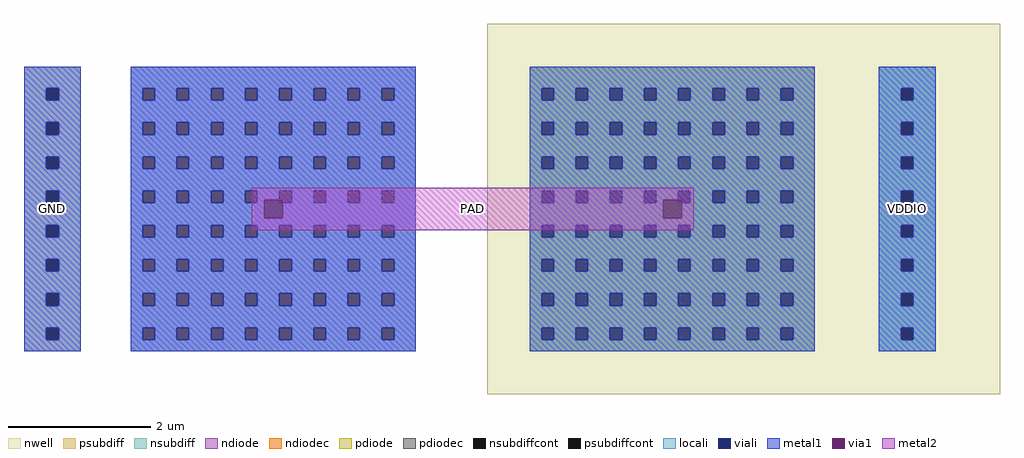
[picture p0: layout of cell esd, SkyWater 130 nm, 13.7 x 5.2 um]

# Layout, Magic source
magic
tech sky130A
magscale 1 2
<< nwell >>
rect 1000 -120 2440 920
<< psubdiff >>
rect -300 739 -140 800
rect -300 705 -237 739
rect -203 705 -140 739
rect -300 643 -140 705
rect -300 609 -237 643
rect -203 609 -140 643
rect -300 547 -140 609
rect -300 513 -237 547
rect -203 513 -140 547
rect -300 451 -140 513
rect -300 417 -237 451
rect -203 417 -140 451
rect -300 355 -140 417
rect -300 321 -237 355
rect -203 321 -140 355
rect -300 259 -140 321
rect -300 225 -237 259
rect -203 225 -140 259
rect -300 163 -140 225
rect -300 129 -237 163
rect -203 129 -140 163
rect -300 67 -140 129
rect -300 33 -237 67
rect -203 33 -140 67
rect -300 0 -140 33
<< nsubdiff >>
rect 2100 739 2260 800
rect 2100 705 2163 739
rect 2197 705 2260 739
rect 2100 643 2260 705
rect 2100 609 2163 643
rect 2197 609 2260 643
rect 2100 547 2260 609
rect 2100 513 2163 547
rect 2197 513 2260 547
rect 2100 451 2260 513
rect 2100 417 2163 451
rect 2197 417 2260 451
rect 2100 355 2260 417
rect 2100 321 2163 355
rect 2197 321 2260 355
rect 2100 259 2260 321
rect 2100 225 2163 259
rect 2197 225 2260 259
rect 2100 163 2260 225
rect 2100 129 2163 163
rect 2197 129 2260 163
rect 2100 67 2260 129
rect 2100 33 2163 67
rect 2197 33 2260 67
rect 2100 0 2260 33
<< psubdiffcont >>
rect -237 705 -203 739
rect -237 609 -203 643
rect -237 513 -203 547
rect -237 417 -203 451
rect -237 321 -203 355
rect -237 225 -203 259
rect -237 129 -203 163
rect -237 33 -203 67
<< nsubdiffcont >>
rect 2163 705 2197 739
rect 2163 609 2197 643
rect 2163 513 2197 547
rect 2163 417 2197 451
rect 2163 321 2197 355
rect 2163 225 2197 259
rect 2163 129 2197 163
rect 2163 33 2197 67
<< pdiode >>
rect 1120 739 1920 800
rect 1120 705 1153 739
rect 1187 705 1249 739
rect 1283 705 1345 739
rect 1379 705 1441 739
rect 1475 705 1537 739
rect 1571 705 1633 739
rect 1667 705 1729 739
rect 1763 705 1825 739
rect 1859 705 1920 739
rect 1120 643 1920 705
rect 1120 609 1153 643
rect 1187 609 1249 643
rect 1283 609 1345 643
rect 1379 609 1441 643
rect 1475 609 1537 643
rect 1571 609 1633 643
rect 1667 609 1729 643
rect 1763 609 1825 643
rect 1859 609 1920 643
rect 1120 547 1920 609
rect 1120 513 1153 547
rect 1187 513 1249 547
rect 1283 513 1345 547
rect 1379 513 1441 547
rect 1475 513 1537 547
rect 1571 513 1633 547
rect 1667 513 1729 547
rect 1763 513 1825 547
rect 1859 513 1920 547
rect 1120 451 1920 513
rect 1120 417 1153 451
rect 1187 417 1249 451
rect 1283 417 1345 451
rect 1379 417 1441 451
rect 1475 417 1537 451
rect 1571 417 1633 451
rect 1667 417 1729 451
rect 1763 417 1825 451
rect 1859 417 1920 451
rect 1120 355 1920 417
rect 1120 321 1153 355
rect 1187 321 1249 355
rect 1283 321 1345 355
rect 1379 321 1441 355
rect 1475 321 1537 355
rect 1571 321 1633 355
rect 1667 321 1729 355
rect 1763 321 1825 355
rect 1859 321 1920 355
rect 1120 259 1920 321
rect 1120 225 1153 259
rect 1187 225 1249 259
rect 1283 225 1345 259
rect 1379 225 1441 259
rect 1475 225 1537 259
rect 1571 225 1633 259
rect 1667 225 1729 259
rect 1763 225 1825 259
rect 1859 225 1920 259
rect 1120 163 1920 225
rect 1120 129 1153 163
rect 1187 129 1249 163
rect 1283 129 1345 163
rect 1379 129 1441 163
rect 1475 129 1537 163
rect 1571 129 1633 163
rect 1667 129 1729 163
rect 1763 129 1825 163
rect 1859 129 1920 163
rect 1120 67 1920 129
rect 1120 33 1153 67
rect 1187 33 1249 67
rect 1283 33 1345 67
rect 1379 33 1441 67
rect 1475 33 1537 67
rect 1571 33 1633 67
rect 1667 33 1729 67
rect 1763 33 1825 67
rect 1859 33 1920 67
rect 1120 0 1920 33
<< ndiode >>
rect 0 739 800 800
rect 0 705 33 739
rect 67 705 129 739
rect 163 705 225 739
rect 259 705 321 739
rect 355 705 417 739
rect 451 705 513 739
rect 547 705 609 739
rect 643 705 705 739
rect 739 705 800 739
rect 0 643 800 705
rect 0 609 33 643
rect 67 609 129 643
rect 163 609 225 643
rect 259 609 321 643
rect 355 609 417 643
rect 451 609 513 643
rect 547 609 609 643
rect 643 609 705 643
rect 739 609 800 643
rect 0 547 800 609
rect 0 513 33 547
rect 67 513 129 547
rect 163 513 225 547
rect 259 513 321 547
rect 355 513 417 547
rect 451 513 513 547
rect 547 513 609 547
rect 643 513 705 547
rect 739 513 800 547
rect 0 451 800 513
rect 0 417 33 451
rect 67 417 129 451
rect 163 417 225 451
rect 259 417 321 451
rect 355 417 417 451
rect 451 417 513 451
rect 547 417 609 451
rect 643 417 705 451
rect 739 417 800 451
rect 0 355 800 417
rect 0 321 33 355
rect 67 321 129 355
rect 163 321 225 355
rect 259 321 321 355
rect 355 321 417 355
rect 451 321 513 355
rect 547 321 609 355
rect 643 321 705 355
rect 739 321 800 355
rect 0 259 800 321
rect 0 225 33 259
rect 67 225 129 259
rect 163 225 225 259
rect 259 225 321 259
rect 355 225 417 259
rect 451 225 513 259
rect 547 225 609 259
rect 643 225 705 259
rect 739 225 800 259
rect 0 163 800 225
rect 0 129 33 163
rect 67 129 129 163
rect 163 129 225 163
rect 259 129 321 163
rect 355 129 417 163
rect 451 129 513 163
rect 547 129 609 163
rect 643 129 705 163
rect 739 129 800 163
rect 0 67 800 129
rect 0 33 33 67
rect 67 33 129 67
rect 163 33 225 67
rect 259 33 321 67
rect 355 33 417 67
rect 451 33 513 67
rect 547 33 609 67
rect 643 33 705 67
rect 739 33 800 67
rect 0 0 800 33
<< pdiodec >>
rect 1153 705 1187 739
rect 1249 705 1283 739
rect 1345 705 1379 739
rect 1441 705 1475 739
rect 1537 705 1571 739
rect 1633 705 1667 739
rect 1729 705 1763 739
rect 1825 705 1859 739
rect 1153 609 1187 643
rect 1249 609 1283 643
rect 1345 609 1379 643
rect 1441 609 1475 643
rect 1537 609 1571 643
rect 1633 609 1667 643
rect 1729 609 1763 643
rect 1825 609 1859 643
rect 1153 513 1187 547
rect 1249 513 1283 547
rect 1345 513 1379 547
rect 1441 513 1475 547
rect 1537 513 1571 547
rect 1633 513 1667 547
rect 1729 513 1763 547
rect 1825 513 1859 547
rect 1153 417 1187 451
rect 1249 417 1283 451
rect 1345 417 1379 451
rect 1441 417 1475 451
rect 1537 417 1571 451
rect 1633 417 1667 451
rect 1729 417 1763 451
rect 1825 417 1859 451
rect 1153 321 1187 355
rect 1249 321 1283 355
rect 1345 321 1379 355
rect 1441 321 1475 355
rect 1537 321 1571 355
rect 1633 321 1667 355
rect 1729 321 1763 355
rect 1825 321 1859 355
rect 1153 225 1187 259
rect 1249 225 1283 259
rect 1345 225 1379 259
rect 1441 225 1475 259
rect 1537 225 1571 259
rect 1633 225 1667 259
rect 1729 225 1763 259
rect 1825 225 1859 259
rect 1153 129 1187 163
rect 1249 129 1283 163
rect 1345 129 1379 163
rect 1441 129 1475 163
rect 1537 129 1571 163
rect 1633 129 1667 163
rect 1729 129 1763 163
rect 1825 129 1859 163
rect 1153 33 1187 67
rect 1249 33 1283 67
rect 1345 33 1379 67
rect 1441 33 1475 67
rect 1537 33 1571 67
rect 1633 33 1667 67
rect 1729 33 1763 67
rect 1825 33 1859 67
<< ndiodec >>
rect 33 705 67 739
rect 129 705 163 739
rect 225 705 259 739
rect 321 705 355 739
rect 417 705 451 739
rect 513 705 547 739
rect 609 705 643 739
rect 705 705 739 739
rect 33 609 67 643
rect 129 609 163 643
rect 225 609 259 643
rect 321 609 355 643
rect 417 609 451 643
rect 513 609 547 643
rect 609 609 643 643
rect 705 609 739 643
rect 33 513 67 547
rect 129 513 163 547
rect 225 513 259 547
rect 321 513 355 547
rect 417 513 451 547
rect 513 513 547 547
rect 609 513 643 547
rect 705 513 739 547
rect 33 417 67 451
rect 129 417 163 451
rect 225 417 259 451
rect 321 417 355 451
rect 417 417 451 451
rect 513 417 547 451
rect 609 417 643 451
rect 705 417 739 451
rect 33 321 67 355
rect 129 321 163 355
rect 225 321 259 355
rect 321 321 355 355
rect 417 321 451 355
rect 513 321 547 355
rect 609 321 643 355
rect 705 321 739 355
rect 33 225 67 259
rect 129 225 163 259
rect 225 225 259 259
rect 321 225 355 259
rect 417 225 451 259
rect 513 225 547 259
rect 609 225 643 259
rect 705 225 739 259
rect 33 129 67 163
rect 129 129 163 163
rect 225 129 259 163
rect 321 129 355 163
rect 417 129 451 163
rect 513 129 547 163
rect 609 129 643 163
rect 705 129 739 163
rect 33 33 67 67
rect 129 33 163 67
rect 225 33 259 67
rect 321 33 355 67
rect 417 33 451 67
rect 513 33 547 67
rect 609 33 643 67
rect 705 33 739 67
<< locali >>
rect -300 739 -140 800
rect -300 705 -237 739
rect -203 705 -140 739
rect -300 643 -140 705
rect -300 609 -237 643
rect -203 609 -140 643
rect -300 547 -140 609
rect -300 513 -237 547
rect -203 513 -140 547
rect -300 451 -140 513
rect -300 417 -237 451
rect -203 417 -140 451
rect -300 355 -140 417
rect -300 321 -237 355
rect -203 321 -140 355
rect -300 259 -140 321
rect -300 225 -237 259
rect -203 225 -140 259
rect -300 163 -140 225
rect -300 129 -237 163
rect -203 129 -140 163
rect -300 67 -140 129
rect -300 33 -237 67
rect -203 33 -140 67
rect -300 0 -140 33
rect 0 739 800 800
rect 0 705 33 739
rect 67 705 129 739
rect 163 705 225 739
rect 259 705 321 739
rect 355 705 417 739
rect 451 705 513 739
rect 547 705 609 739
rect 643 705 705 739
rect 739 705 800 739
rect 0 643 800 705
rect 0 609 33 643
rect 67 609 129 643
rect 163 609 225 643
rect 259 609 321 643
rect 355 609 417 643
rect 451 609 513 643
rect 547 609 609 643
rect 643 609 705 643
rect 739 609 800 643
rect 0 547 800 609
rect 0 513 33 547
rect 67 513 129 547
rect 163 513 225 547
rect 259 513 321 547
rect 355 513 417 547
rect 451 513 513 547
rect 547 513 609 547
rect 643 513 705 547
rect 739 513 800 547
rect 0 451 800 513
rect 0 417 33 451
rect 67 417 129 451
rect 163 417 225 451
rect 259 417 321 451
rect 355 417 417 451
rect 451 417 513 451
rect 547 417 609 451
rect 643 417 705 451
rect 739 417 800 451
rect 0 355 800 417
rect 0 321 33 355
rect 67 321 129 355
rect 163 321 225 355
rect 259 321 321 355
rect 355 321 417 355
rect 451 321 513 355
rect 547 321 609 355
rect 643 321 705 355
rect 739 321 800 355
rect 0 259 800 321
rect 0 225 33 259
rect 67 225 129 259
rect 163 225 225 259
rect 259 225 321 259
rect 355 225 417 259
rect 451 225 513 259
rect 547 225 609 259
rect 643 225 705 259
rect 739 225 800 259
rect 0 163 800 225
rect 0 129 33 163
rect 67 129 129 163
rect 163 129 225 163
rect 259 129 321 163
rect 355 129 417 163
rect 451 129 513 163
rect 547 129 609 163
rect 643 129 705 163
rect 739 129 800 163
rect 0 67 800 129
rect 0 33 33 67
rect 67 33 129 67
rect 163 33 225 67
rect 259 33 321 67
rect 355 33 417 67
rect 451 33 513 67
rect 547 33 609 67
rect 643 33 705 67
rect 739 33 800 67
rect 0 0 800 33
rect 1120 739 1920 800
rect 1120 705 1153 739
rect 1187 705 1249 739
rect 1283 705 1345 739
rect 1379 705 1441 739
rect 1475 705 1537 739
rect 1571 705 1633 739
rect 1667 705 1729 739
rect 1763 705 1825 739
rect 1859 705 1920 739
rect 1120 643 1920 705
rect 1120 609 1153 643
rect 1187 609 1249 643
rect 1283 609 1345 643
rect 1379 609 1441 643
rect 1475 609 1537 643
rect 1571 609 1633 643
rect 1667 609 1729 643
rect 1763 609 1825 643
rect 1859 609 1920 643
rect 1120 547 1920 609
rect 1120 513 1153 547
rect 1187 513 1249 547
rect 1283 513 1345 547
rect 1379 513 1441 547
rect 1475 513 1537 547
rect 1571 513 1633 547
rect 1667 513 1729 547
rect 1763 513 1825 547
rect 1859 513 1920 547
rect 1120 451 1920 513
rect 1120 417 1153 451
rect 1187 417 1249 451
rect 1283 417 1345 451
rect 1379 417 1441 451
rect 1475 417 1537 451
rect 1571 417 1633 451
rect 1667 417 1729 451
rect 1763 417 1825 451
rect 1859 417 1920 451
rect 1120 355 1920 417
rect 1120 321 1153 355
rect 1187 321 1249 355
rect 1283 321 1345 355
rect 1379 321 1441 355
rect 1475 321 1537 355
rect 1571 321 1633 355
rect 1667 321 1729 355
rect 1763 321 1825 355
rect 1859 321 1920 355
rect 1120 259 1920 321
rect 1120 225 1153 259
rect 1187 225 1249 259
rect 1283 225 1345 259
rect 1379 225 1441 259
rect 1475 225 1537 259
rect 1571 225 1633 259
rect 1667 225 1729 259
rect 1763 225 1825 259
rect 1859 225 1920 259
rect 1120 163 1920 225
rect 1120 129 1153 163
rect 1187 129 1249 163
rect 1283 129 1345 163
rect 1379 129 1441 163
rect 1475 129 1537 163
rect 1571 129 1633 163
rect 1667 129 1729 163
rect 1763 129 1825 163
rect 1859 129 1920 163
rect 1120 67 1920 129
rect 1120 33 1153 67
rect 1187 33 1249 67
rect 1283 33 1345 67
rect 1379 33 1441 67
rect 1475 33 1537 67
rect 1571 33 1633 67
rect 1667 33 1729 67
rect 1763 33 1825 67
rect 1859 33 1920 67
rect 1120 0 1920 33
rect 2100 739 2260 800
rect 2100 705 2163 739
rect 2197 705 2260 739
rect 2100 643 2260 705
rect 2100 609 2163 643
rect 2197 609 2260 643
rect 2100 547 2260 609
rect 2100 513 2163 547
rect 2197 513 2260 547
rect 2100 451 2260 513
rect 2100 417 2163 451
rect 2197 417 2260 451
rect 2100 355 2260 417
rect 2100 321 2163 355
rect 2197 321 2260 355
rect 2100 259 2260 321
rect 2100 225 2163 259
rect 2197 225 2260 259
rect 2100 163 2260 225
rect 2100 129 2163 163
rect 2197 129 2260 163
rect 2100 67 2260 129
rect 2100 33 2163 67
rect 2197 33 2260 67
rect 2100 0 2260 33
<< viali >>
rect -237 705 -203 739
rect -237 609 -203 643
rect -237 513 -203 547
rect -237 417 -203 451
rect -237 321 -203 355
rect -237 225 -203 259
rect -237 129 -203 163
rect -237 33 -203 67
rect 33 705 67 739
rect 129 705 163 739
rect 225 705 259 739
rect 321 705 355 739
rect 417 705 451 739
rect 513 705 547 739
rect 609 705 643 739
rect 705 705 739 739
rect 33 609 67 643
rect 129 609 163 643
rect 225 609 259 643
rect 321 609 355 643
rect 417 609 451 643
rect 513 609 547 643
rect 609 609 643 643
rect 705 609 739 643
rect 33 513 67 547
rect 129 513 163 547
rect 225 513 259 547
rect 321 513 355 547
rect 417 513 451 547
rect 513 513 547 547
rect 609 513 643 547
rect 705 513 739 547
rect 33 417 67 451
rect 129 417 163 451
rect 225 417 259 451
rect 321 417 355 451
rect 417 417 451 451
rect 513 417 547 451
rect 609 417 643 451
rect 705 417 739 451
rect 33 321 67 355
rect 129 321 163 355
rect 225 321 259 355
rect 321 321 355 355
rect 417 321 451 355
rect 513 321 547 355
rect 609 321 643 355
rect 705 321 739 355
rect 33 225 67 259
rect 129 225 163 259
rect 225 225 259 259
rect 321 225 355 259
rect 417 225 451 259
rect 513 225 547 259
rect 609 225 643 259
rect 705 225 739 259
rect 33 129 67 163
rect 129 129 163 163
rect 225 129 259 163
rect 321 129 355 163
rect 417 129 451 163
rect 513 129 547 163
rect 609 129 643 163
rect 705 129 739 163
rect 33 33 67 67
rect 129 33 163 67
rect 225 33 259 67
rect 321 33 355 67
rect 417 33 451 67
rect 513 33 547 67
rect 609 33 643 67
rect 705 33 739 67
rect 1153 705 1187 739
rect 1249 705 1283 739
rect 1345 705 1379 739
rect 1441 705 1475 739
rect 1537 705 1571 739
rect 1633 705 1667 739
rect 1729 705 1763 739
rect 1825 705 1859 739
rect 1153 609 1187 643
rect 1249 609 1283 643
rect 1345 609 1379 643
rect 1441 609 1475 643
rect 1537 609 1571 643
rect 1633 609 1667 643
rect 1729 609 1763 643
rect 1825 609 1859 643
rect 1153 513 1187 547
rect 1249 513 1283 547
rect 1345 513 1379 547
rect 1441 513 1475 547
rect 1537 513 1571 547
rect 1633 513 1667 547
rect 1729 513 1763 547
rect 1825 513 1859 547
rect 1153 417 1187 451
rect 1249 417 1283 451
rect 1345 417 1379 451
rect 1441 417 1475 451
rect 1537 417 1571 451
rect 1633 417 1667 451
rect 1729 417 1763 451
rect 1825 417 1859 451
rect 1153 321 1187 355
rect 1249 321 1283 355
rect 1345 321 1379 355
rect 1441 321 1475 355
rect 1537 321 1571 355
rect 1633 321 1667 355
rect 1729 321 1763 355
rect 1825 321 1859 355
rect 1153 225 1187 259
rect 1249 225 1283 259
rect 1345 225 1379 259
rect 1441 225 1475 259
rect 1537 225 1571 259
rect 1633 225 1667 259
rect 1729 225 1763 259
rect 1825 225 1859 259
rect 1153 129 1187 163
rect 1249 129 1283 163
rect 1345 129 1379 163
rect 1441 129 1475 163
rect 1537 129 1571 163
rect 1633 129 1667 163
rect 1729 129 1763 163
rect 1825 129 1859 163
rect 1153 33 1187 67
rect 1249 33 1283 67
rect 1345 33 1379 67
rect 1441 33 1475 67
rect 1537 33 1571 67
rect 1633 33 1667 67
rect 1729 33 1763 67
rect 1825 33 1859 67
rect 2163 705 2197 739
rect 2163 609 2197 643
rect 2163 513 2197 547
rect 2163 417 2197 451
rect 2163 321 2197 355
rect 2163 225 2197 259
rect 2163 129 2197 163
rect 2163 33 2197 67
<< metal1 >>
rect -300 739 -140 800
rect -300 705 -237 739
rect -203 705 -140 739
rect -300 643 -140 705
rect -300 609 -237 643
rect -203 609 -140 643
rect -300 547 -140 609
rect -300 513 -237 547
rect -203 513 -140 547
rect -300 451 -140 513
rect -300 417 -237 451
rect -203 417 -140 451
rect -300 355 -140 417
rect -300 321 -237 355
rect -203 321 -140 355
rect -300 259 -140 321
rect -300 225 -237 259
rect -203 225 -140 259
rect -300 163 -140 225
rect -300 129 -237 163
rect -203 129 -140 163
rect -300 67 -140 129
rect -300 33 -237 67
rect -203 33 -140 67
rect -300 0 -140 33
rect 0 739 800 800
rect 0 705 33 739
rect 67 705 129 739
rect 163 705 225 739
rect 259 705 321 739
rect 355 705 417 739
rect 451 705 513 739
rect 547 705 609 739
rect 643 705 705 739
rect 739 705 800 739
rect 0 643 800 705
rect 0 609 33 643
rect 67 609 129 643
rect 163 609 225 643
rect 259 609 321 643
rect 355 609 417 643
rect 451 609 513 643
rect 547 609 609 643
rect 643 609 705 643
rect 739 609 800 643
rect 0 547 800 609
rect 0 513 33 547
rect 67 513 129 547
rect 163 513 225 547
rect 259 513 321 547
rect 355 513 417 547
rect 451 513 513 547
rect 547 513 609 547
rect 643 513 705 547
rect 739 513 800 547
rect 0 451 800 513
rect 0 417 33 451
rect 67 417 129 451
rect 163 417 225 451
rect 259 417 321 451
rect 355 426 417 451
rect 355 417 374 426
rect 451 417 513 451
rect 547 417 609 451
rect 643 417 705 451
rect 739 417 800 451
rect 0 374 374 417
rect 426 374 800 417
rect 0 355 800 374
rect 0 321 33 355
rect 67 321 129 355
rect 163 321 225 355
rect 259 321 321 355
rect 355 321 417 355
rect 451 321 513 355
rect 547 321 609 355
rect 643 321 705 355
rect 739 321 800 355
rect 0 259 800 321
rect 0 225 33 259
rect 67 225 129 259
rect 163 225 225 259
rect 259 225 321 259
rect 355 225 417 259
rect 451 225 513 259
rect 547 225 609 259
rect 643 225 705 259
rect 739 225 800 259
rect 0 163 800 225
rect 0 129 33 163
rect 67 129 129 163
rect 163 129 225 163
rect 259 129 321 163
rect 355 129 417 163
rect 451 129 513 163
rect 547 129 609 163
rect 643 129 705 163
rect 739 129 800 163
rect 0 67 800 129
rect 0 33 33 67
rect 67 33 129 67
rect 163 33 225 67
rect 259 33 321 67
rect 355 33 417 67
rect 451 33 513 67
rect 547 33 609 67
rect 643 33 705 67
rect 739 33 800 67
rect 0 0 800 33
rect 1120 739 1920 800
rect 1120 705 1153 739
rect 1187 705 1249 739
rect 1283 705 1345 739
rect 1379 705 1441 739
rect 1475 705 1537 739
rect 1571 705 1633 739
rect 1667 705 1729 739
rect 1763 705 1825 739
rect 1859 705 1920 739
rect 1120 643 1920 705
rect 1120 609 1153 643
rect 1187 609 1249 643
rect 1283 609 1345 643
rect 1379 609 1441 643
rect 1475 609 1537 643
rect 1571 609 1633 643
rect 1667 609 1729 643
rect 1763 609 1825 643
rect 1859 609 1920 643
rect 1120 547 1920 609
rect 1120 513 1153 547
rect 1187 513 1249 547
rect 1283 513 1345 547
rect 1379 513 1441 547
rect 1475 513 1537 547
rect 1571 513 1633 547
rect 1667 513 1729 547
rect 1763 513 1825 547
rect 1859 513 1920 547
rect 1120 451 1920 513
rect 1120 417 1153 451
rect 1187 417 1249 451
rect 1283 417 1345 451
rect 1379 417 1441 451
rect 1475 426 1537 451
rect 1475 417 1494 426
rect 1571 417 1633 451
rect 1667 417 1729 451
rect 1763 417 1825 451
rect 1859 417 1920 451
rect 1120 374 1494 417
rect 1546 374 1920 417
rect 1120 355 1920 374
rect 1120 321 1153 355
rect 1187 321 1249 355
rect 1283 321 1345 355
rect 1379 321 1441 355
rect 1475 321 1537 355
rect 1571 321 1633 355
rect 1667 321 1729 355
rect 1763 321 1825 355
rect 1859 321 1920 355
rect 1120 259 1920 321
rect 1120 225 1153 259
rect 1187 225 1249 259
rect 1283 225 1345 259
rect 1379 225 1441 259
rect 1475 225 1537 259
rect 1571 225 1633 259
rect 1667 225 1729 259
rect 1763 225 1825 259
rect 1859 225 1920 259
rect 1120 163 1920 225
rect 1120 129 1153 163
rect 1187 129 1249 163
rect 1283 129 1345 163
rect 1379 129 1441 163
rect 1475 129 1537 163
rect 1571 129 1633 163
rect 1667 129 1729 163
rect 1763 129 1825 163
rect 1859 129 1920 163
rect 1120 67 1920 129
rect 1120 33 1153 67
rect 1187 33 1249 67
rect 1283 33 1345 67
rect 1379 33 1441 67
rect 1475 33 1537 67
rect 1571 33 1633 67
rect 1667 33 1729 67
rect 1763 33 1825 67
rect 1859 33 1920 67
rect 1120 0 1920 33
rect 2100 739 2260 800
rect 2100 705 2163 739
rect 2197 705 2260 739
rect 2100 643 2260 705
rect 2100 609 2163 643
rect 2197 609 2260 643
rect 2100 547 2260 609
rect 2100 513 2163 547
rect 2197 513 2260 547
rect 2100 451 2260 513
rect 2100 417 2163 451
rect 2197 417 2260 451
rect 2100 355 2260 417
rect 2100 321 2163 355
rect 2197 321 2260 355
rect 2100 259 2260 321
rect 2100 225 2163 259
rect 2197 225 2260 259
rect 2100 163 2260 225
rect 2100 129 2163 163
rect 2197 129 2260 163
rect 2100 67 2260 129
rect 2100 33 2163 67
rect 2197 33 2260 67
rect 2100 0 2260 33
<< via1 >>
rect 374 417 417 426
rect 417 417 426 426
rect 374 374 426 417
rect 1494 417 1537 426
rect 1537 417 1546 426
rect 1494 374 1546 417
<< metal2 >>
rect 340 426 1580 460
rect 340 374 374 426
rect 426 374 1494 426
rect 1546 374 1580 426
rect 340 340 1580 374
<< labels >>
rlabel metal2 960 400 960 400 0 PAD
port 1 nsew
rlabel metal1 -220 400 -220 400 0 GND
port 2 nsew
rlabel metal1 2180 400 2180 400 0 VDDIO
port 3 nsew
<< end >>
